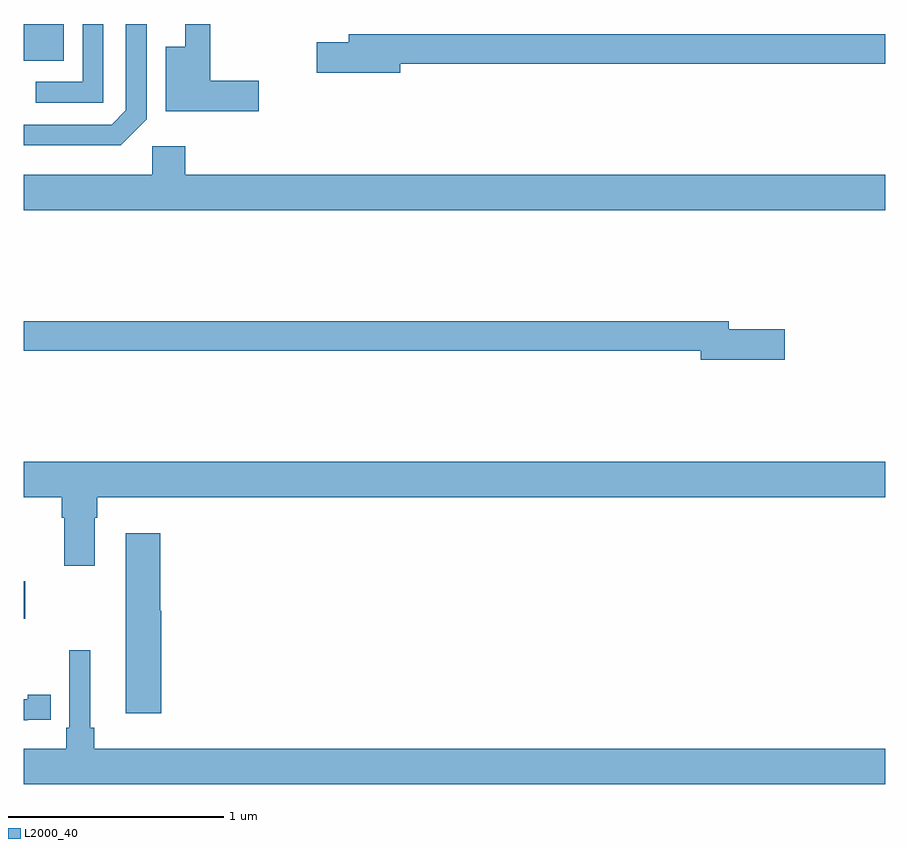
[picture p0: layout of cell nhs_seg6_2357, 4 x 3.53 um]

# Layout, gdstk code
import gdstk
lib = gdstk.Library(unit=1e-6, precision=1e-09)
def R(c, l, rs):  # rectangles x0, y0, x1, y1
    for r in rs: c.add(gdstk.rectangle(r[:2], r[2:], *l))
def P(c, l, *ps):  # polygons
    for p in ps: c.add(gdstk.Polygon(p, *l))
L2000_40 = (2000, 40)

nhs_seg6_2357 = lib.new_cell('nhs_seg6_2357')
R(nhs_seg6_2357, L2000_40, [(251,978.739,251.008,978.913), (251,981.329,251.185,981.5)])
P(nhs_seg6_2357, L2000_40, [(252.091,981.236),(251.867,981.236),(251.867,981.5),(251.75,981.5),(251.75,981.394),(251.66,981.394),(251.66,981.094),(252.091,981.094)],
  [(251.37,981.5),(251.274,981.5),(251.274,981.231),(251.055,981.231),(251.055,981.135),(251.37,981.135)],
  [(251.571,981.057),(251.571,981.5),(251.475,981.5),(251.475,981.099),(251.409,981.033),(251,981.033),(251,980.936),(251.45,980.936)],
  [(252.748,981.316),(255,981.316),(255,981.452),(252.509,981.452),(252.509,981.416),(252.36,981.416),(252.36,981.274),(252.748,981.274)],
  [(255,980.8),(251.75,980.8),(251.75,980.932),(251.598,980.932),(251.598,980.8),(251,980.8),(251,980.636),(255,980.636)],
  [(254.533,980.084),(254.272,980.084),(254.272,980.12),(251,980.12),(251,979.984),(254.144,979.984),(254.144,979.942),(254.533,979.942)],
  [(251.329,979.208),(251.342,979.208),(251.342,979.304),(255,979.304),(255,979.468),(251,979.468),(251,979.304),(251.177,979.304),(251.177,979.208),(251.189,979.208),(251.189,978.984),(251.329,978.984)],
  [(251.638,978.777),(251.633,978.777),(251.633,979.135),(251.474,979.135),(251.474,978.3),(251.638,978.3)],
  [(255,978.136),(251.327,978.136),(251.327,978.232),(251.308,978.232),(251.308,978.592),(251.211,978.592),(251.211,978.232),(251.198,978.232),(251.198,978.136),(251,978.136),(251,977.972),(255,977.972)],
  [(251.018,978.27),(251.126,978.27),(251.126,978.386),(251.018,978.386),(251.018,978.366),(251,978.366),(251,978.269),(251.018,978.269)])

lib.write_gds('nhs_seg6_2357.gds')
